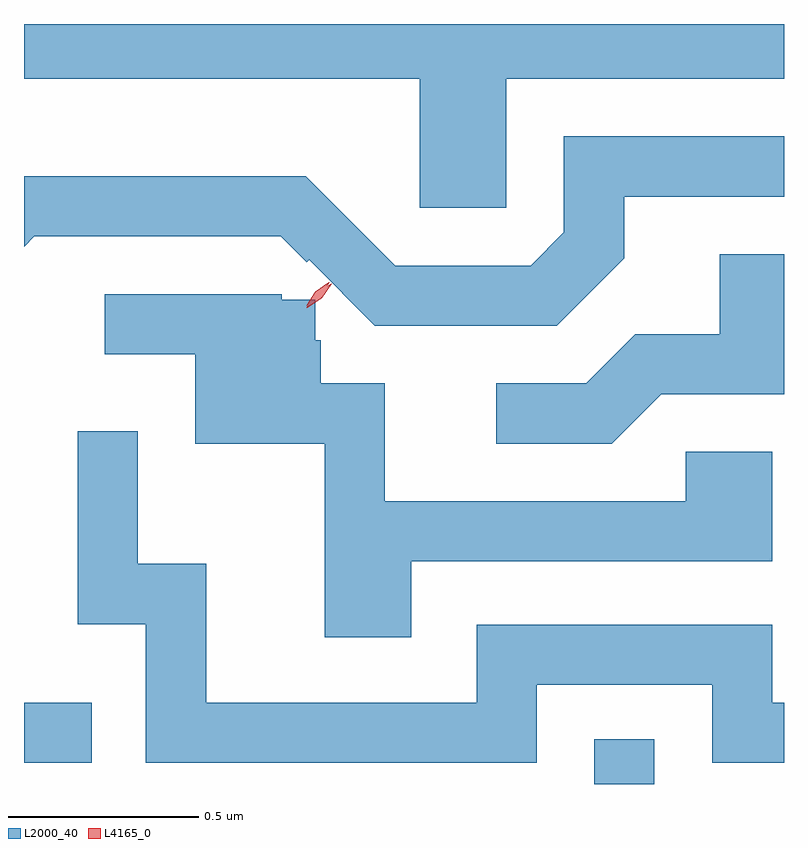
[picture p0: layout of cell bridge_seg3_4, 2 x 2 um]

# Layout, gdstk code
import gdstk
lib = gdstk.Library(unit=1e-6, precision=1e-09)
def R(c, l, rs):  # rectangles x0, y0, x1, y1
    for r in rs: c.add(gdstk.rectangle(r[:2], r[2:], *l))
def P(c, l, *ps):  # polygons
    for p in ps: c.add(gdstk.Polygon(p, *l))
L2000_40 = (2000, 40)
L4165_0 = (4165, 0)

bridge_seg3_4 = lib.new_cell('bridge_seg3_4')
R(bridge_seg3_4, L2000_40, [(1875.721,1250.7,1875.879,1250.818), (1874.22,1250.756,1874.398,1250.914)])
P(bridge_seg3_4, L2000_40, [(1875.489,1252.556),(1876.22,1252.556),(1876.22,1252.7),(1874.22,1252.7),(1874.22,1252.556),(1875.261,1252.556),(1875.261,1252.216),(1875.489,1252.216)],
  [(1875.799,1252.084),(1875.799,1252.246),(1876.22,1252.246),(1876.22,1252.404),(1875.641,1252.404),(1875.641,1252.152),(1875.554,1252.064),(1875.197,1252.064),(1874.962,1252.299),(1874.22,1252.299),(1874.22,1252.114),(1874.247,1252.141),(1874.896,1252.141),(1874.964,1252.073),(1874.97,1252.079),(1875.143,1251.906),(1875.622,1251.906)],
  [(1875.897,1251.726),(1876.22,1251.726),(1876.22,1252.094),(1876.051,1252.094),(1876.051,1251.884),(1875.829,1251.884),(1875.699,1251.754),(1875.463,1251.754),(1875.463,1251.596),(1875.767,1251.596)],
  [(1875.239,1251.286),(1876.189,1251.286),(1876.189,1251.574),(1875.961,1251.574),(1875.961,1251.444),(1875.169,1251.444),(1875.169,1251.754),(1875.001,1251.754),(1875.001,1251.868),(1874.986,1251.868),(1874.986,1251.975),(1874.898,1251.975),(1874.898,1251.989),(1874.433,1251.989),(1874.433,1251.831),(1874.671,1251.831),(1874.671,1251.596),(1875.011,1251.596),(1875.011,1251.086),(1875.239,1251.086)],
  [(1875.569,1250.961),(1876.031,1250.961),(1876.031,1250.756),(1876.22,1250.756),(1876.22,1250.914),(1876.189,1250.914),(1876.189,1251.119),(1875.411,1251.119),(1875.411,1250.914),(1874.699,1250.914),(1874.699,1251.279),(1874.519,1251.279),(1874.519,1251.628),(1874.361,1251.628),(1874.361,1251.121),(1874.541,1251.121),(1874.541,1250.756),(1875.569,1250.756)])
P(bridge_seg3_4, L4165_0, [(1874.964,1251.953),(1874.964,1251.954),(1874.99,1251.992),(1875.029,1252.017),(1875.03,1252.017),(1875.03,1252.016),(1875.004,1251.978),(1874.965,1251.953)],
  [(1874.964,1251.959),(1874.964,1251.96),(1874.986,1251.996),(1875.022,1252.02),(1875.023,1252.02),(1875.023,1252.019),(1875,1251.982),(1874.964,1251.959)])

lib.write_gds('bridge_seg3_4.gds')
